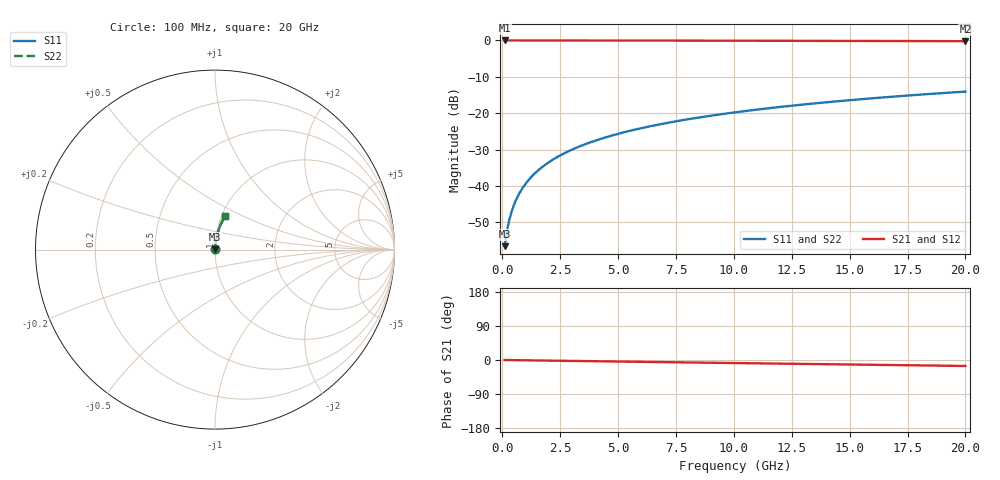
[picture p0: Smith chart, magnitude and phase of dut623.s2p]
! Touchstone file exported from HFSS 2026.1.0
!  File:  C:/ffzhzh/LocalFiles/Ansys_Project_Files/temp_train_BSMRDL_623_1783016448_53980.aedt
!  Generated:  02:22:07 AM Jul  3, 2026
!  Design:  BSMRDL
!  Project:  temp_train_BSMRDL_623_1783016448_53980
! Variables:
!  h_bsmrdl = 5.42um
!  h_ox = 20um
!  h_rdl = 5um
!  h_sub = 80um
!  h_tmrdl = 5um
!  h_tsv = 80um
!  h_via = 3um
!  l_bsmrdl = 162.39um
!  l_sub = 562.39um
!  l_tmrdl = 200um
!  m_sub = 200um
!  pitch = 50.26um
!  r_tsv = 6um
!  s_tmrdl = 10um
!  w_bsmrdl = 11.37um
!  w_sub = 500um
!  w_tmrdl = 12um
!  x_tsv_center1 = 206um
!  x_tsv_center2 = 379.76um
!  x_tsv_center3 = 591.76um
!  x_tsv_center4 = 765.52um
!  x_tsv_center5 = 977.52um
!  x_tsv_center6 = 1151.28um
# GHz S MA R 50.000000
! Terminal data exported
! Port[1] = BSM_RDL1_1_T1
! Port[2] = BSM_RDL1_1_T2
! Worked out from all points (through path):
!   200 points, 100 MHz to 20 GHz, reference 50 ohm
!   highest |S21| = -0.01 dB at 100 MHz (marker M1); lowest = -0.2 dB at 20 GHz (marker M2)
!   group delay of S21, straight-line fit = 2.19 ps
!   lowest |S11| = -56.5 dB at 100 MHz (marker M3), VSWR 1.00, Z = 50.1 + j0.109 ohm
!   |S11| at or under -10 dB: start of sweep to end of sweep
!   |S22| runs from -56.5 to -14.0 dB; largest |S21 - S12| = 3.6e-15
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0.1  0.001496 46.5  0.999 -0.1  0.999 -0.1  0.001496 46.5
! Gamma 0 0 0 0
! Port Impedance 50 0 50 0
0.2  0.002407 64.1  0.999 -0.2  0.999 -0.2  0.002407 64.1
0.3  0.003411 71.5  0.9989 -0.3  0.9989 -0.3  0.003411 71.5
0.4  0.004438 75.4  0.9989 -0.3  0.9989 -0.3  0.004438 75.4
0.5  0.005474 77.9  0.9989 -0.4  0.9989 -0.4  0.005474 77.9
0.7  0.007555 80.7  0.9988 -0.6  0.9988 -0.6  0.007555 80.7
0.8  0.008598 81.5  0.9988 -0.7  0.9988 -0.7  0.008598 81.5
1  0.01069 82.8  0.9987 -0.8  0.9987 -0.8  0.01069 82.8
1.2  0.01278 83.5  0.9987 -1.0  0.9987 -1.0  0.01278 83.5
1.4  0.01487 84.0  0.9986 -1.2  0.9986 -1.2  0.01487 84.0
1.7  0.01802 84.4  0.9985 -1.4  0.9985 -1.4  0.01802 84.4
2  0.02115 84.7  0.9984 -1.6  0.9984 -1.6  0.02115 84.7
2.7  0.02846 84.8  0.9981 -2.2  0.9981 -2.2  0.02846 84.8
3.5  0.03676 84.5  0.9976 -2.9  0.9976 -2.9  0.03676 84.5
4.2  0.04398 84.1  0.9971 -3.4  0.9971 -3.4  0.04398 84.1
5  0.05217 83.6  0.9965 -4.1  0.9965 -4.1  0.05217 83.6
6.8  0.07043 82.4  0.995 -5.5  0.995 -5.5  0.07043 82.4
8.3  0.08548 81.4  0.9935 -6.7  0.9935 -6.7  0.08548 81.4
10.1  0.1034 80.1  0.9914 -8.1  0.9914 -8.1  0.1034 80.1
13.4  0.1357 77.8  0.9871 -10.7  0.9871 -10.7  0.1357 77.8
16.7  0.1674 75.4  0.9818 -13.2  0.9818 -13.2  0.1674 75.4
20  0.1984 72.9  0.9756 -15.8  0.9756 -15.8  0.1984 72.9
